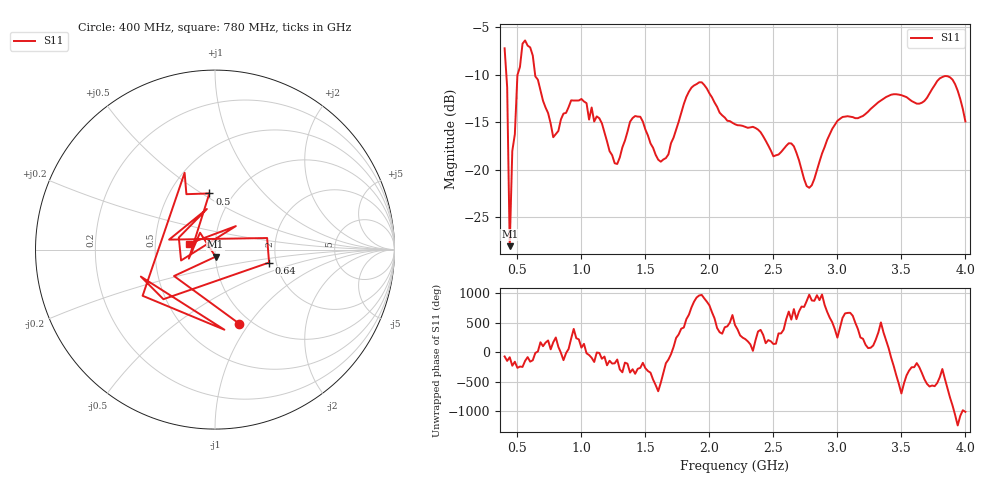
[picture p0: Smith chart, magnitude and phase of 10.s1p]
!Created with skrf (http://scikit-rf.org).
# Hz S RI R 50.0
!freq ReS11 ImS11
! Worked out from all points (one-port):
!   181 points, 400 MHz to 4 GHz, reference 50 ohm
!   lowest |S11| = -28.0 dB at 440 MHz (marker M1), VSWR 1.08, Z = 50.2 - j3.98 ohm
!   |S11| at or under -10 dB: 413.5 MHz to 501.1 MHz (87.56 MHz wide, 19.1 % of centre); 638.4 MHz to end of sweep
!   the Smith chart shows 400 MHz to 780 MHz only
!   S11 on the Smith chart (normalised r, x): 400 MHz: 0.88, -0.90; 500 MHz: 0.78, +0.54; 640 MHz: 1.83, -0.29; 780 MHz: 0.75, +0.05
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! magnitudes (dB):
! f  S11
! 400 MHz  -7.2
! 420 MHz  -11.3
! 440 MHz  -28.0
! 460 MHz  -18.0
! 480 MHz  -16.3
! 500 MHz  -10.0
! 560 MHz  -6.4
! 640 MHz  -10.2
! 780 MHz  -16.6
! 860 MHz  -14.1
! 1 GHz  -12.6
! 1.14 GHz  -14.6
! 1.26 GHz  -19.3
! 1.3 GHz  -18.7
! 1.42 GHz  -14.3
! 1.62 GHz  -19.1
! 1.76 GHz  -14.9
! 1.94 GHz  -10.8
! 2.2 GHz  -15.2
! 2.38 GHz  -15.8
! 2.5 GHz  -18.6
! 2.66 GHz  -17.5
! 2.78 GHz  -21.9
! 2.96 GHz  -15.7
! 3.1 GHz  -14.4
! 3.56 GHz  -12.6
! 3.86 GHz  -10.2
! 4 GHz  -14.9
